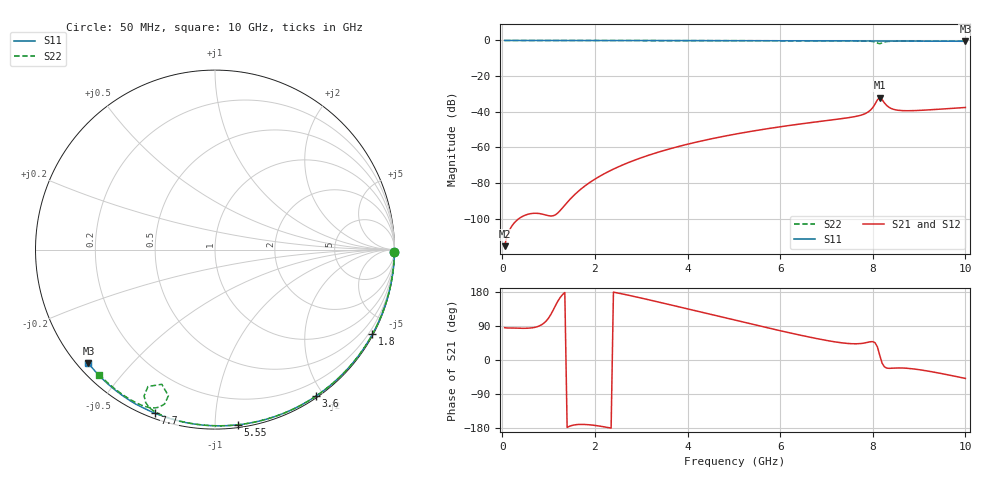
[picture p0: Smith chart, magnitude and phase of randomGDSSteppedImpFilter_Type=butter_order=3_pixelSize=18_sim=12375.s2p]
! freq	dB(S11)	phase(S11)	dB(S12)	phase(S12)
!  dB(S21)	phase(S21)	dB(S22)	phase(S22)
!S-par simulation data
#  GHz  S  DB  R 50
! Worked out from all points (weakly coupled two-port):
!   200 points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, 50 MHz to 10 GHz, reference 50 ohm
!   highest |S21| = -32.07 dB at 8.15 GHz (marker M1); lowest = -115.4 dB at 50 MHz (marker M2)
!   lowest |S11| = -0.5 dB at 10 GHz (marker M3), VSWR 37.22, Z = 1.54 - j19.1 ohm
!   |S11| at or under -10 dB: nowhere
!   |S22| runs from -1.9 to 0.0 dB; largest |S21 - S12| = 0
!   S11 on the Smith chart (normalised r, x): 50 MHz: open; 1.8 GHz: 0.03, -3.96; 3.6 GHz: 0.02, -1.91; 5.55 GHz: 0.02, -1.14; 7.7 GHz: 0.02, -0.70; 10 GHz: 0.03, -0.38
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0.05  -0.00 -0.8  -115.35 85.4  -115.35 85.4  -0.00 -0.8
1.75  -0.04 -27.5  -82.26 -170.0  -82.26 -170.0  -0.03 -26.6
1.8  -0.04 -28.3  -81.27 -170.3  -81.27 -170.3  -0.03 -27.4
1.9  -0.04 -29.9  -79.44 -171.2  -79.44 -171.2  -0.04 -28.9
2.25  -0.05 -35.2  -74.06 -177.4  -74.06 -177.4  -0.04 -34.1
2.65  -0.05 -41.3  -69.24 172.9  -69.24 172.9  -0.05 -39.9
3.4  -0.07 -52.4  -62.40 152.2  -62.40 152.2  -0.07 -50.7
3.6  -0.07 -55.3  -60.89 146.5  -60.89 146.5  -0.07 -53.5
5.05  -0.12 -75.8  -52.43 104.3  -52.43 104.3  -0.11 -73.4
5.55  -0.14 -82.5  -50.21 89.9  -50.21 89.9  -0.13 -80.0
6.7  -0.19 -97.6  -45.92 58.7  -45.92 58.7  -0.18 -94.8
7.7  -0.25 -110.2  -42.21 43.1  -42.21 43.1  -0.28 -108.2
7.85  -0.27 -112.0  -40.86 45.6  -40.86 45.6  -0.34 -110.8
7.95  -0.28 -113.2  -39.08 48.2  -39.08 48.2  -0.45 -113.0
8.05  -0.29 -114.4  -35.63 45.5  -35.63 45.5  -0.86 -115.9
8.1  -0.29 -115.0  -33.31 34.6  -33.31 34.6  -1.42 -116.1
8.15  -0.28 -115.6  -32.07 12.7  -32.07 12.7  -1.86 -111.6
8.2  -0.28 -116.3  -33.14 -7.9  -33.14 -7.9  -1.36 -107.7
8.35  -0.30 -118.2  -37.47 -22.0  -37.47 -22.0  -0.51 -110.7
8.5  -0.31 -120.0  -38.95 -21.2  -38.95 -21.2  -0.39 -113.7
8.75  -0.33 -123.0  -39.41 -21.9  -39.41 -21.9  -0.36 -117.5
10  -0.47 -138.1  -37.59 -48.6  -37.59 -48.6  -0.45 -132.7
